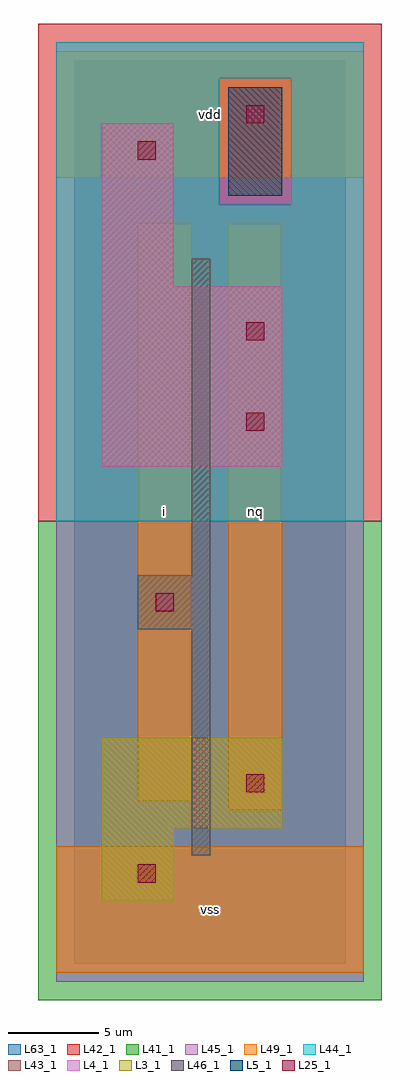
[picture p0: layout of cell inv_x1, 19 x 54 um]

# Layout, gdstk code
import gdstk
lib = gdstk.Library(unit=1e-6, precision=1e-09)
def R(c, l, rs):  # rectangles x0, y0, x1, y1
    for r in rs: c.add(gdstk.rectangle(r[:2], r[2:], *l))
L3_1 = (3, 1)
L4_1 = (4, 1)
L5_1 = (5, 1)
L25_1 = (25, 1)
L41_1 = (41, 1)
L42_1 = (42, 1)
L43_1 = (43, 1)
L44_1 = (44, 1)
L45_1 = (45, 1)
L46_1 = (46, 1)
L49_1 = (49, 1)
L63_1 = (63, 1)

inv_x1 = lib.new_cell('inv_x1')
R(inv_x1, L3_1, [(1.5,3.5,5.5,7.5), (1.5,7.5,11.5,12.5)])
R(inv_x1, L4_1, [(1.5,27.5,11.5,37.5), (1.5,37.5,5.5,46.5)])
R(inv_x1, L5_1, [(8.5,42.5,11.5,48.5)])
R(inv_x1, L25_1, [(3.5,4.5,4.5,5.5), (9.5,9.5,10.5,10.5), (4.5,19.5,5.5,20.5), (9.5,29.5,10.5,30.5), (9.5,34.5,10.5,35.5), (3.5,44.5,4.5,45.5), (9.5,46.5,10.5,47.5)])
R(inv_x1, L41_1, [(-2,-2,17,24.5)])
R(inv_x1, L42_1, [(-2,24.5,17,52)])
R(inv_x1, L43_1, [(1.5,3.5,5.5,7.5), (1.5,7.5,11.5,12.5), (1.5,27.5,11.5,37.5), (1.5,37.5,5.5,46.5), (8.5,42.5,11.5,48.5)])
R(inv_x1, L44_1, [(-1,24.5,16,42), (-1,42,8,49), (12,42,16,49), (-1,49,16,51)])
R(inv_x1, L45_1, [(-1,-1,16,24.5), (8,42,12,49)])
R(inv_x1, L46_1, [(6.5,6,7.5,18.5), (3.5,18.5,7.5,21.5), (6.5,21.5,7.5,39)])
R(inv_x1, L49_1, [(-1,-0.5,16,6.5), (8.5,8.5,11.5,41), (3.5,9,6.5,41), (-1,43.5,16,50.5)])
R(inv_x1, L63_1, [(0,0,15,50)])
inv_x1.add(gdstk.Label('vss', (7.5,3), layer=49, texttype=1))
inv_x1.add(gdstk.Label('vss', (7.5,3), layer=49, texttype=1))
inv_x1.add(gdstk.Label('i', (5,25), layer=49, texttype=1))
inv_x1.add(gdstk.Label('i', (5,25), layer=49, texttype=1))
inv_x1.add(gdstk.Label('vdd', (7.5,47), layer=49, texttype=1))
inv_x1.add(gdstk.Label('vdd', (7.5,47), layer=49, texttype=1))
inv_x1.add(gdstk.Label('nq', (10,25), layer=49, texttype=1))
inv_x1.add(gdstk.Label('nq', (10,25), layer=49, texttype=1))

lib.write_gds('inv_x1.gds')
